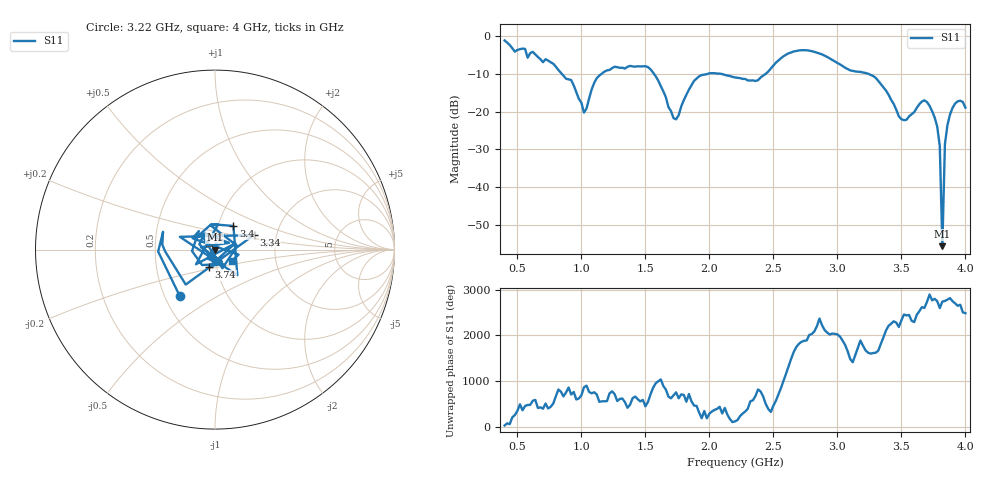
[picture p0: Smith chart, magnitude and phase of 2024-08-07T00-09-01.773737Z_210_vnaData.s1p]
!Created with skrf (http://scikit-rf.org).
# Hz S RI R 50.0
!freq ReS11 ImS11
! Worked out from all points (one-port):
!   181 points, 400 MHz to 4 GHz, reference 50 ohm
!   lowest |S11| = -55.5 dB at 3.82 GHz (marker M1), VSWR 1.00, Z = 49.9 - j0.113 ohm
!   |S11| at or under -10 dB: 1.567 GHz to 1.989 GHz (422.2 MHz wide, 23.7 % of centre); 2.087 GHz to 2.44 GHz (352.7 MHz wide, 15.6 % of centre); 3.241 GHz to end of sweep (the widest 3 of 4)
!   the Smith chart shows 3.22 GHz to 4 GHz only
!   S11 on the Smith chart (normalised r, x): 3.22 GHz: 0.60, -0.34; 3.34 GHz: 1.52, +0.26; 3.4 GHz: 1.18, +0.32; 3.74 GHz: 0.92, -0.18; 4 GHz: 1.20, -0.15
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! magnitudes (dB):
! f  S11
! 400 MHz  -1.2
! 860 MHz  -10.5
! 920 MHz  -11.7
! 1.02 GHz  -20.3
! 1.12 GHz  -11.1
! 1.3 GHz  -8.4
! 1.52 GHz  -8.2
! 1.72 GHz  -21.7
! 1.76 GHz  -20.9
! 1.92 GHz  -10.7
! 2.2 GHz  -11.0
! 2.38 GHz  -11.7
! 2.66 GHz  -4.1
! 3.1 GHz  -9.1
! 3.22 GHz  -9.8
! 3.34 GHz  -12.8
! 3.4 GHz  -15.5
! 3.5 GHz  -22.0
! 3.56 GHz  -21.3
! 3.68 GHz  -17.0
! 3.74 GHz  -19.9
! 3.78 GHz  -24.0
! 3.8 GHz  -29.1
! 3.82 GHz  -55.5
! 3.84 GHz  -28.6
! 3.86 GHz  -23.5
! 3.92 GHz  -17.8
! 4 GHz  -18.9
